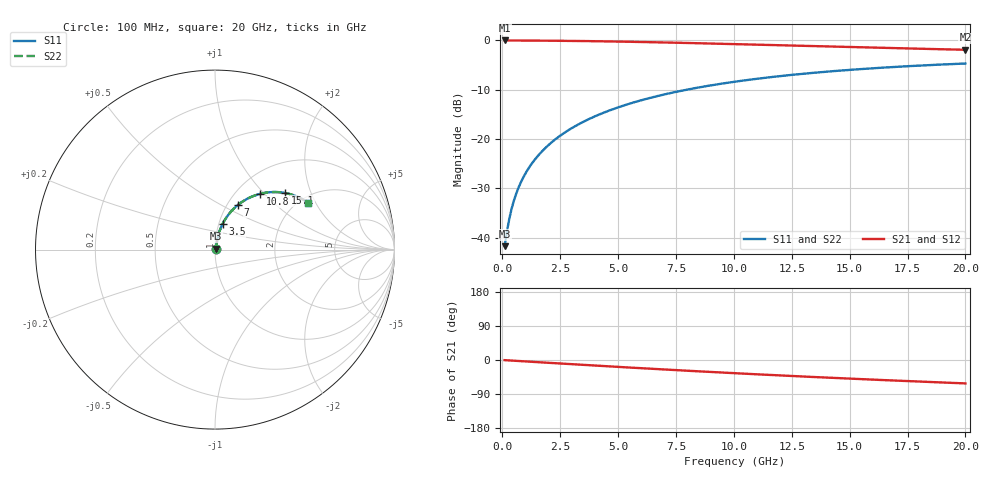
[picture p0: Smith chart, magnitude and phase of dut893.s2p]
! Touchstone file exported from HFSS 2026.1.0
!  File:  C:/ffzhzh/LocalFiles/Ansys_Project_Files/temp_train_BSMRDL_893_1783171270_51560.aedt
!  Generated:  09:22:35 PM Jul  4, 2026
!  Design:  BSMRDL
!  Project:  temp_train_BSMRDL_893_1783171270_51560
! Variables:
!  h_bsmrdl = 3.02um
!  h_ox = 20um
!  h_rdl = 5um
!  h_sub = 80um
!  h_tmrdl = 5um
!  h_tsv = 80um
!  h_via = 3um
!  l_bsmrdl = 933.71um
!  l_sub = 1333.71um
!  l_tmrdl = 200um
!  m_sub = 200um
!  pitch = 49.25um
!  r_tsv = 6um
!  s_tmrdl = 10um
!  w_bsmrdl = 16.31um
!  w_sub = 500um
!  w_tmrdl = 12um
!  x_tsv_center1 = 206um
!  x_tsv_center2 = 1156.02um
!  x_tsv_center3 = 1368.02um
!  x_tsv_center4 = 2318.04um
!  x_tsv_center5 = 2530.04um
!  x_tsv_center6 = 3480.06um
# GHz S MA R 50.000000
! Terminal data exported
! Port[1] = BSM_RDL1_1_T1
! Port[2] = BSM_RDL1_1_T2
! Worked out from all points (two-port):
!   200 points, 100 MHz to 20 GHz, reference 50 ohm
!   highest |S21| = -0.06 dB at 100 MHz (marker M1); lowest = -1.9 dB at 20 GHz (marker M2)
!   |S21| within 3 dB of the highest: start of sweep to end of sweep
!   lowest |S11| = -41.7 dB at 100 MHz (marker M3), VSWR 1.02, Z = 50.7 + j0.463 ohm
!   |S11| at or under -10 dB: start of sweep to 8.006 GHz
!   |S22| runs from -41.7 to -4.7 dB; largest |S21 - S12| = 5.8e-15
!   S11 on the Smith chart (normalised r, x): 100 MHz: 1.01, +0.01; 3.5 GHz: 1.04, +0.30; 7 GHz: 1.12, +0.61; 10.8 GHz: 1.28, +0.95; 15.1 GHz: 1.59, +1.34; 20 GHz: 2.20, +1.74
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0.1  0.008181 33.9  0.9932 -0.4  0.9932 -0.4  0.008181 33.9
! Gamma 0 0 0 0
! Port Impedance 50 0 50 0
0.2  0.01148 52.3  0.9931 -0.8  0.9931 -0.8  0.01148 52.3
0.3  0.01539 61.5  0.9928 -1.2  0.9928 -1.2  0.01539 61.5
0.4  0.01948 66.6  0.9926 -1.5  0.9926 -1.5  0.01948 66.6
0.5  0.02364 69.7  0.9923 -1.9  0.9923 -1.9  0.02364 69.7
0.6  0.02781 71.8  0.992 -2.3  0.992 -2.3  0.02781 71.8
0.8  0.03618 74.4  0.9915 -3.0  0.9915 -3.0  0.03618 74.4
1.1  0.04879 76.3  0.9907 -4.1  0.9907 -4.1  0.04879 76.3
1.6  0.06988 77.2  0.9892 -5.9  0.9892 -5.9  0.06988 77.2
2.1  0.09093 76.8  0.9873 -7.8  0.9873 -7.8  0.09093 76.8
2.7  0.116 75.6  0.9844 -10.0  0.9844 -10.0  0.116 75.6
3.5  0.1489 73.6  0.9796 -12.9  0.9796 -12.9  0.1489 73.5
5  0.2084 69.0  0.9678 -18.2  0.9678 -18.2  0.2084 69.0
6.8  0.275 63.3  0.9501 -24.4  0.9501 -24.4  0.275 63.2
7  0.282 62.6  0.9479 -25.0  0.9479 -25.0  0.282 62.6
8.5  0.3323 57.9  0.9307 -30.0  0.9307 -30.0  0.3323 57.9
10.1  0.3811 53.0  0.9112 -35.0  0.9112 -35.0  0.3811 53.0
10.8  0.4008 50.9  0.9025 -37.2  0.9025 -37.2  0.4008 50.9
13.4  0.466 43.5  0.8703 -44.7  0.8703 -44.7  0.466 43.5
15.1  0.5019 38.9  0.85 -49.4  0.85 -49.4  0.5019 38.9
16.7  0.5314 34.8  0.8321 -53.6  0.8321 -53.6  0.5314 34.8
20  0.5801 26.9  0.7995 -61.7  0.7995 -61.7  0.5801 26.8
